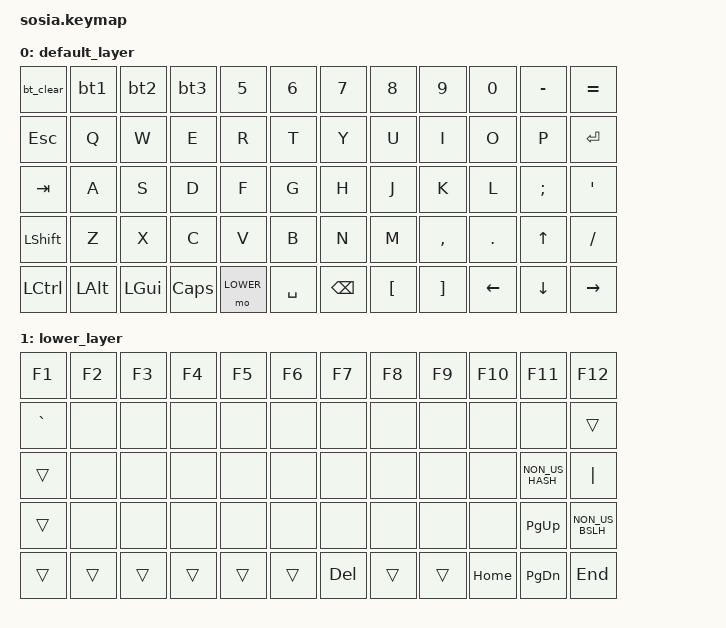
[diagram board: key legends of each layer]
/*
 * Copyright (c) 2020 The ZMK Contributors
 *
 * SPDX-License-Identifier: MIT
 */

#define LOWER 1

#include <behaviors.dtsi>
#include <dt-bindings/zmk/keys.h>
#include <dt-bindings/zmk/bt.h>

/ {
    behaviors {

        bt1: bluetooth_1 {
            compatible = "zmk,behavior-mod-morph";
            label = "BLUETOOTH_1";
            #binding-cells = <0>;   
            bindings = <&kp N2>, <&bt BT_SEL 0>;
            mods = <(MOD_LGUI)>;
        };

        bt2: bluetooth_2 {
            compatible = "zmk,behavior-mod-morph";
            label = "BLUETOOTH_2";
            #binding-cells = <0>;
            bindings = <&kp N3>, <&bt BT_SEL 1>;
            mods = <(MOD_LGUI)>;
        };

        bt3: bluetooth_3 {
            compatible = "zmk,behavior-mod-morph";
            label = "BLUETOOTH_3";
            #binding-cells = <0>;
            bindings = <&kp N4>, <&bt BT_SEL 2>;
            mods = <(MOD_LGUI)>;
        };

        bt_clear: bluetooth_clear {
            compatible = "zmk,behavior-mod-morph";
            label = "BLUETOOTH_CLEAR";
            #binding-cells = <0>;
            bindings = <&kp N1>, <&bt BT_CLR>;
            mods = <(MOD_LGUI)>;
        };

    };

    keymap {
        compatible = "zmk,keymap";

        default_layer {
            bindings = <
                &bt_clear   &bt1      &bt2     &bt3     &kp N5     &kp N6          &kp N7   &kp N8     &kp N9    &kp N0   &kp MINUS &kp EQUAL
                &kp ESC     &kp Q     &kp W    &kp E    &kp R      &kp T           &kp Y    &kp U      &kp I     &kp O    &kp P     &kp RET
                &kp TAB     &kp A     &kp S    &kp D    &kp F      &kp G           &kp H    &kp J      &kp K     &kp L    &kp SEMI  &kp APOS
                &kp LSHIFT  &kp Z     &kp X    &kp C    &kp V      &kp B           &kp N    &kp M      &kp COMMA &kp DOT  &kp UP    &kp SLASH
                &kp LCTRL   &kp LALT  &kp LGUI &kp CAPS &mo LOWER  &kp SPACE       &kp BSPC &kp LBKT   &kp RBKT  &kp LEFT &kp DOWN  &kp RIGHT
            >;
        };

        lower_layer {   
            bindings = <
                &kp F1    &kp F2    &kp F3      &kp F4      &kp F5    &kp F6       &kp F7    &kp F8    &kp F9     &kp F10  &kp F11   &kp F12
                &kp GRAVE &none     &none       &none       &none     &none        &none     &none     &none      &none    &none     &trans
                &trans    &none     &none       &none       &none     &none        &none     &none     &none      &none    &kp NON_US_HASH  &kp PIPE
                &trans    &none     &none       &none       &none     &none        &none     &none     &none      &none    &kp PG_UP &kp NON_US_BSLH
                &trans    &trans    &trans      &trans      &trans    &trans       &kp DEL   &trans    &trans     &kp HOME &kp PG_DN &kp END
            >;
        }

    };
};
